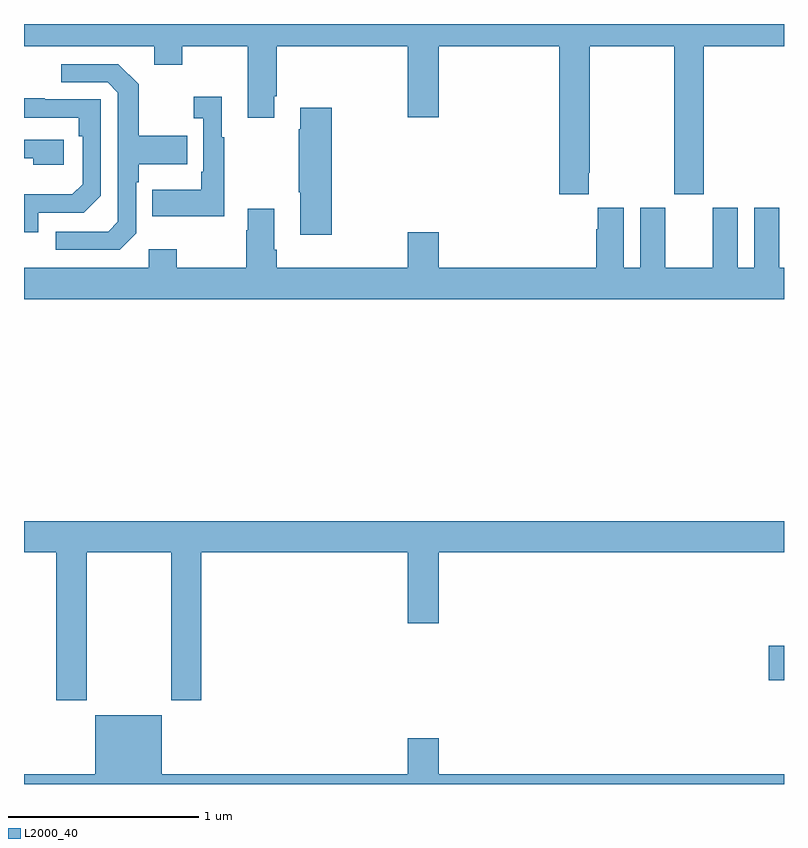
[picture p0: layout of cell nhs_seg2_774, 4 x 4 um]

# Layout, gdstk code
import gdstk
lib = gdstk.Library(unit=1e-6, precision=1e-09)
def R(c, l, rs):  # rectangles x0, y0, x1, y1
    for r in rs: c.add(gdstk.rectangle(r[:2], r[2:], *l))
def P(c, l, *ps):  # polygons
    for p in ps: c.add(gdstk.Polygon(p, *l))
L2000_40 = (2000, 40)

nhs_seg2_774 = lib.new_cell('nhs_seg2_774')
R(nhs_seg2_774, L2000_40, [(154.92,596.345,155,596.528)])
P(nhs_seg2_774, L2000_40, [(153.973,599.017),(153.978,599.017),(153.978,599.684),(154.423,599.684),(154.423,598.905),(154.578,598.905),(154.578,599.684),(155,599.684),(155,599.8),(151,599.8),(151,599.684),(151.685,599.684),(151.685,599.585),(151.833,599.585),(151.833,599.684),(152.177,599.684),(152.177,599.307),(152.317,599.307),(152.317,599.419),(152.33,599.419),(152.33,599.684),(153.02,599.684),(153.02,599.31),(153.184,599.31),(153.184,599.684),(153.818,599.684),(153.818,598.905),(153.973,598.905)],
  [(151.59,598.698),(151.59,598.967),(151.603,598.967),(151.603,599.063),(151.859,599.063),(151.859,599.211),(151.603,599.211),(151.603,599.483),(151.497,599.589),(151.197,599.589),(151.197,599.493),(151.44,599.493),(151.494,599.439),(151.494,598.758),(151.443,598.707),(151.167,598.707),(151.167,598.611),(151.503,598.611)],
  [(152.053,599.203),(152.041,599.203),(152.041,599.416),(151.893,599.416),(151.893,599.303),(151.944,599.303),(151.944,599.023),(151.932,599.023),(151.932,598.927),(151.675,598.927),(151.675,598.787),(152.053,598.787)],
  [(151.074,598.806),(151.314,598.806),(151.404,598.896),(151.404,599.403),(151.109,599.403),(151.109,599.408),(151,599.408),(151,599.307),(151.288,599.307),(151.288,599.21),(151.308,599.21),(151.308,598.956),(151.255,598.903),(151,598.903),(151,598.704),(151.074,598.704)],
  [(152.621,599.359),(152.453,599.359),(152.453,599.246),(152.446,599.246),(152.446,598.915),(152.453,598.915),(152.453,598.692),(152.621,598.692)],
  [(151.21,599.19),(151,599.19),(151,599.094),(151.049,599.094),(151.049,599.06),(151.21,599.06)],
  [(155,598.516),(154.975,598.516),(154.975,598.834),(154.844,598.834),(154.844,598.516),(154.756,598.516),(154.756,598.834),(154.625,598.834),(154.625,598.516),(154.375,598.516),(154.375,598.834),(154.244,598.834),(154.244,598.516),(154.156,598.516),(154.156,598.834),(154.019,598.834),(154.019,598.721),(154.013,598.721),(154.013,598.516),(153.184,598.516),(153.184,598.705),(153.02,598.705),(153.02,598.516),(152.33,598.516),(152.33,598.612),(152.317,598.612),(152.317,598.828),(152.177,598.828),(152.177,598.715),(152.17,598.715),(152.17,598.516),(151.803,598.516),(151.803,598.615),(151.656,598.615),(151.656,598.516),(151,598.516),(151,598.352),(155,598.352)],
  [(151.329,597.02),(151.774,597.02),(151.774,596.241),(151.934,596.241),(151.934,597.02),(153.02,597.02),(153.02,596.646),(153.184,596.646),(153.184,597.02),(155,597.02),(155,597.184),(151,597.184),(151,597.02),(151.169,597.02),(151.169,596.241),(151.329,596.241)],
  [(155,595.852),(153.184,595.852),(153.184,596.041),(153.02,596.041),(153.02,595.852),(151.726,595.852),(151.726,596.161),(151.376,596.161),(151.376,595.852),(151,595.852),(151,595.8),(155,595.8)])

lib.write_gds('nhs_seg2_774.gds')
